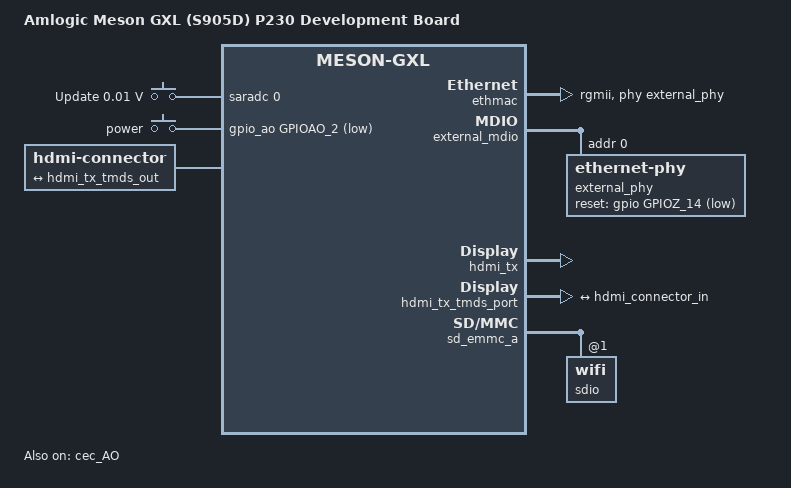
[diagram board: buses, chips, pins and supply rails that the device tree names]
// SPDX-License-Identifier: (GPL-2.0+ OR MIT)
/*
 * Copyright (c) 2016 Endless Computers, Inc.
 * Author: Carlo Caione <carlo@endlessm.com>
 */

/dts-v1/;

#include <dt-bindings/input/input.h>

#include "meson-gxl-s905d.dtsi"
#include "meson-gx-p23x-q20x.dtsi"

/ {
	compatible = "amlogic,p230", "amlogic,s905d", "amlogic,meson-gxl";
	model = "Amlogic Meson GXL (S905D) P230 Development Board";

	adc-keys {
		compatible = "adc-keys";
		io-channels = <&saradc 0>;
		io-channel-names = "buttons";
		keyup-threshold-microvolt = <1710000>;

		button-function {
			label = "Update";
			linux,code = <KEY_VENDOR>;
			press-threshold-microvolt = <10000>;
		};
	};

	gpio-keys-polled {
		compatible = "gpio-keys-polled";
		poll-interval = <100>;

		button {
			label = "power";
			linux,code = <KEY_POWER>;
			gpios = <&gpio_ao GPIOAO_2 GPIO_ACTIVE_LOW>;
		};
	};

	hdmi-connector {
		compatible = "hdmi-connector";
		type = "a";

		port {
			hdmi_connector_in: endpoint {
				remote-endpoint = <&hdmi_tx_tmds_out>;
			};
		};
	};
};

&cec_AO {
	status = "okay";
	pinctrl-0 = <&ao_cec_pins>;
	pinctrl-names = "default";
	hdmi-phandle = <&hdmi_tx>;
};

/* P230 has exclusive choice between internal or external PHY */
&ethmac {
	pinctrl-0 = <&eth_pins>;
	pinctrl-names = "default";

	/* Select external PHY by default */
	phy-handle = <&external_phy>;

	amlogic,tx-delay-ns = <2>;

	/* External PHY is in RGMII */
	phy-mode = "rgmii";
};

&external_mdio {
	external_phy: ethernet-phy@0 {
		/* Realtek RTL8211F (0x001cc916) */
		reg = <0>;
		max-speed = <1000>;

		/* External PHY reset is shared with internal PHY Led signal */
		reset-assert-us = <10000>;
		reset-deassert-us = <80000>;
		reset-gpios = <&gpio GPIOZ_14 GPIO_ACTIVE_LOW>;

		interrupt-parent = <&gpio_intc>;
		interrupts = <29 IRQ_TYPE_LEVEL_LOW>;
		eee-broken-1000t;
	};
};

&hdmi_tx {
	status = "okay";
	pinctrl-0 = <&hdmi_hpd_pins>, <&hdmi_i2c_pins>;
	pinctrl-names = "default";
};

&hdmi_tx_tmds_port {
	hdmi_tx_tmds_out: endpoint {
		remote-endpoint = <&hdmi_connector_in>;
	};
};

&sd_emmc_a {
	sdio: wifi@1 {
		reg = <1>;
	};
};
